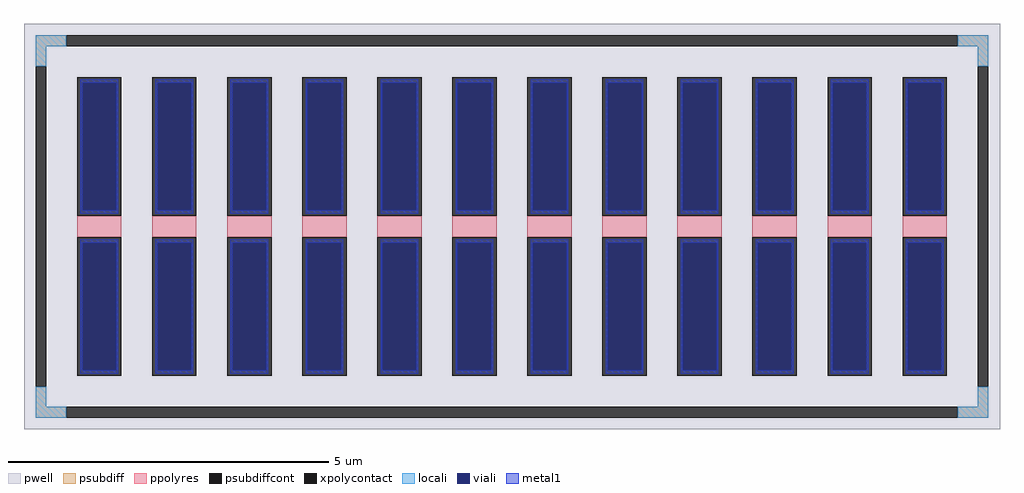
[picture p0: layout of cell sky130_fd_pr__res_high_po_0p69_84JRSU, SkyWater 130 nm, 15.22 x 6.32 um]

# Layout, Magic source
magic
tech sky130A
magscale 1 2
<< pwell >>
rect -1522 -632 1522 632
<< psubdiff >>
rect -1486 562 -1390 596
rect 1390 562 1486 596
rect -1486 500 -1452 562
rect 1452 500 1486 562
rect -1486 -562 -1452 -500
rect 1452 -562 1486 -500
rect -1486 -596 -1390 -562
rect 1390 -596 1486 -562
<< psubdiffcont >>
rect -1390 562 1390 596
rect -1486 -500 -1452 500
rect 1452 -500 1486 500
rect -1390 -596 1390 -562
<< xpolycontact >>
rect -1356 34 -1218 466
rect -1356 -466 -1218 -34
rect -1122 34 -984 466
rect -1122 -466 -984 -34
rect -888 34 -750 466
rect -888 -466 -750 -34
rect -654 34 -516 466
rect -654 -466 -516 -34
rect -420 34 -282 466
rect -420 -466 -282 -34
rect -186 34 -48 466
rect -186 -466 -48 -34
rect 48 34 186 466
rect 48 -466 186 -34
rect 282 34 420 466
rect 282 -466 420 -34
rect 516 34 654 466
rect 516 -466 654 -34
rect 750 34 888 466
rect 750 -466 888 -34
rect 984 34 1122 466
rect 984 -466 1122 -34
rect 1218 34 1356 466
rect 1218 -466 1356 -34
<< ppolyres >>
rect -1356 -34 -1218 34
rect -1122 -34 -984 34
rect -888 -34 -750 34
rect -654 -34 -516 34
rect -420 -34 -282 34
rect -186 -34 -48 34
rect 48 -34 186 34
rect 282 -34 420 34
rect 516 -34 654 34
rect 750 -34 888 34
rect 984 -34 1122 34
rect 1218 -34 1356 34
<< locali >>
rect -1486 562 -1390 596
rect 1390 562 1486 596
rect -1486 500 -1452 562
rect 1452 500 1486 562
rect -1486 -562 -1452 -500
rect 1452 -562 1486 -500
rect -1486 -596 -1390 -562
rect 1390 -596 1486 -562
<< viali >>
rect -1340 51 -1234 448
rect -1106 51 -1000 448
rect -872 51 -766 448
rect -638 51 -532 448
rect -404 51 -298 448
rect -170 51 -64 448
rect 64 51 170 448
rect 298 51 404 448
rect 532 51 638 448
rect 766 51 872 448
rect 1000 51 1106 448
rect 1234 51 1340 448
rect -1340 -448 -1234 -51
rect -1106 -448 -1000 -51
rect -872 -448 -766 -51
rect -638 -448 -532 -51
rect -404 -448 -298 -51
rect -170 -448 -64 -51
rect 64 -448 170 -51
rect 298 -448 404 -51
rect 532 -448 638 -51
rect 766 -448 872 -51
rect 1000 -448 1106 -51
rect 1234 -448 1340 -51
<< metal1 >>
rect -1346 448 -1228 460
rect -1346 51 -1340 448
rect -1234 51 -1228 448
rect -1346 39 -1228 51
rect -1112 448 -994 460
rect -1112 51 -1106 448
rect -1000 51 -994 448
rect -1112 39 -994 51
rect -878 448 -760 460
rect -878 51 -872 448
rect -766 51 -760 448
rect -878 39 -760 51
rect -644 448 -526 460
rect -644 51 -638 448
rect -532 51 -526 448
rect -644 39 -526 51
rect -410 448 -292 460
rect -410 51 -404 448
rect -298 51 -292 448
rect -410 39 -292 51
rect -176 448 -58 460
rect -176 51 -170 448
rect -64 51 -58 448
rect -176 39 -58 51
rect 58 448 176 460
rect 58 51 64 448
rect 170 51 176 448
rect 58 39 176 51
rect 292 448 410 460
rect 292 51 298 448
rect 404 51 410 448
rect 292 39 410 51
rect 526 448 644 460
rect 526 51 532 448
rect 638 51 644 448
rect 526 39 644 51
rect 760 448 878 460
rect 760 51 766 448
rect 872 51 878 448
rect 760 39 878 51
rect 994 448 1112 460
rect 994 51 1000 448
rect 1106 51 1112 448
rect 994 39 1112 51
rect 1228 448 1346 460
rect 1228 51 1234 448
rect 1340 51 1346 448
rect 1228 39 1346 51
rect -1346 -51 -1228 -39
rect -1346 -448 -1340 -51
rect -1234 -448 -1228 -51
rect -1346 -460 -1228 -448
rect -1112 -51 -994 -39
rect -1112 -448 -1106 -51
rect -1000 -448 -994 -51
rect -1112 -460 -994 -448
rect -878 -51 -760 -39
rect -878 -448 -872 -51
rect -766 -448 -760 -51
rect -878 -460 -760 -448
rect -644 -51 -526 -39
rect -644 -448 -638 -51
rect -532 -448 -526 -51
rect -644 -460 -526 -448
rect -410 -51 -292 -39
rect -410 -448 -404 -51
rect -298 -448 -292 -51
rect -410 -460 -292 -448
rect -176 -51 -58 -39
rect -176 -448 -170 -51
rect -64 -448 -58 -51
rect -176 -460 -58 -448
rect 58 -51 176 -39
rect 58 -448 64 -51
rect 170 -448 176 -51
rect 58 -460 176 -448
rect 292 -51 410 -39
rect 292 -448 298 -51
rect 404 -448 410 -51
rect 292 -460 410 -448
rect 526 -51 644 -39
rect 526 -448 532 -51
rect 638 -448 644 -51
rect 526 -460 644 -448
rect 760 -51 878 -39
rect 760 -448 766 -51
rect 872 -448 878 -51
rect 760 -460 878 -448
rect 994 -51 1112 -39
rect 994 -448 1000 -51
rect 1106 -448 1112 -51
rect 994 -460 1112 -448
rect 1228 -51 1346 -39
rect 1228 -448 1234 -51
rect 1340 -448 1346 -51
rect 1228 -460 1346 -448
<< properties >>
string FIXED_BBOX -1469 -579 1469 579
string gencell sky130_fd_pr__res_high_po_0p69
string library sky130
string parameters w 0.690 l 0.50 m 1 nx 12 wmin 0.690 lmin 0.50 rho 319.8 val 1.57k dummy 0 dw 0.0 term 194.82 sterm 0.0 caplen 0 guard 1 glc 1 grc 1 gtc 1 gbc 1 compatible {sky130_fd_pr__res_high_po_0p35  sky130_fd_pr__res_high_po_0p69 sky130_fd_pr__res_high_po_1p41  sky130_fd_pr__res_high_po_2p85 sky130_fd_pr__res_high_po_5p73} snake 0 full_metal 1 wmax 0.690 n_guard 0 hv_guard 0 vias 1 viagb 0 viagt 0 viagl 0 viagr 0
<< end >>
